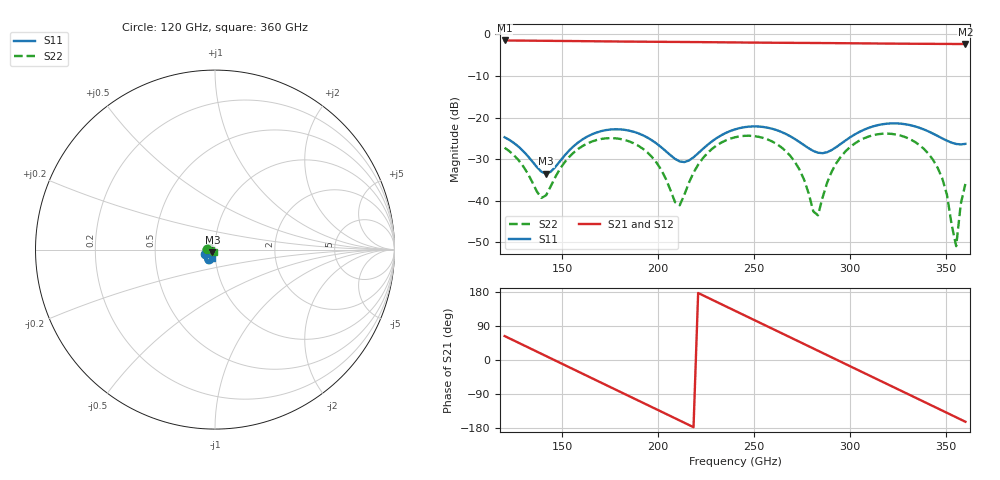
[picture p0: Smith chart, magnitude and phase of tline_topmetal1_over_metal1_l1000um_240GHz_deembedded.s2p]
! Created with skrf 2.0.1 (http://scikit-rf.org).
# GHz S DB R 50.0
!freq dBS11 angS11 dBS21 angS21 dBS12 angS12 dBS22 angS22
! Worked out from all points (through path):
!   101 points, 120 GHz to 360 GHz, reference 50 ohm
!   highest |S21| = -1.47 dB at 120 GHz (marker M1); lowest = -2.3 dB at 360 GHz (marker M2)
!   group delay of S21, straight-line fit = 6.78 ps
!   lowest |S11| = -33.5 dB at 141.6 GHz (marker M3), VSWR 1.04, Z = 48.5 - j1.49 ohm
!   |S11| at or under -10 dB: start of sweep to end of sweep
!   |S22| runs from -50.9 to -23.9 dB; largest |S21 - S12| = 9.1e-14
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120  -24.74 -156.7  -1.47 63.2  -1.47 63.2  -27.27 174.1
141.6  -33.50 -133.5  -1.55 10.4  -1.55 10.4  -38.70 -140.3
160.8  -25.19 -105.1  -1.63 -36.6  -1.63 -36.6  -26.80 -132.7
182.4  -22.95 -137.2  -1.73 -89.4  -1.73 -89.4  -25.37 -178.7
201.6  -27.14 -155.1  -1.80 -136.2  -1.80 -136.2  -32.60 148.6
211.2  -30.56 -136.2  -1.83 -159.7  -1.83 -159.7  -41.10 -153.5
223.2  -27.58 -102.3  -1.87 171.0  -1.87 171.0  -29.82 -120.1
240  -22.84 -112.2  -1.94 129.9  -1.94 129.9  -24.75 -152.9
254.4  -22.25 -131.5  -2.00 94.8  -2.00 94.8  -24.87 174.9
266.4  -23.93 -144.1  -2.04 65.6  -2.04 65.6  -28.05 149.3
273.6  -25.89 -145.4  -2.05 48.0  -2.05 48.0  -32.53 138.3
280.8  -28.03 -135.8  -2.07 30.4  -2.07 30.4  -42.58 162.5
283.2  -28.46 -129.5  -2.08 24.5  -2.08 24.5  -43.51 -148.9
290.4  -27.81 -109.3  -2.10 6.9  -2.10 6.9  -32.97 -113.8
297.6  -25.50 -100.5  -2.13 -10.7  -2.13 -10.7  -28.11 -124.3
321.6  -21.41 -119.3  -2.23 -69.2  -2.23 -69.2  -23.93 -178.3
336  -22.46 -134.1  -2.27 -104.3  -2.27 -104.3  -26.59 147.7
345.6  -24.44 -136.3  -2.29 -127.7  -2.29 -127.7  -32.12 126.4
350.4  -25.57 -132.3  -2.30 -139.5  -2.30 -139.5  -38.57 119.6
355.2  -26.35 -124.1  -2.31 -151.2  -2.31 -151.2  -50.93 -125.2
357.6  -26.46 -118.9  -2.32 -157.1  -2.32 -157.1  -40.76 -100.0
360  -26.34 -113.7  -2.33 -162.9  -2.33 -162.9  -35.97 -100.7
